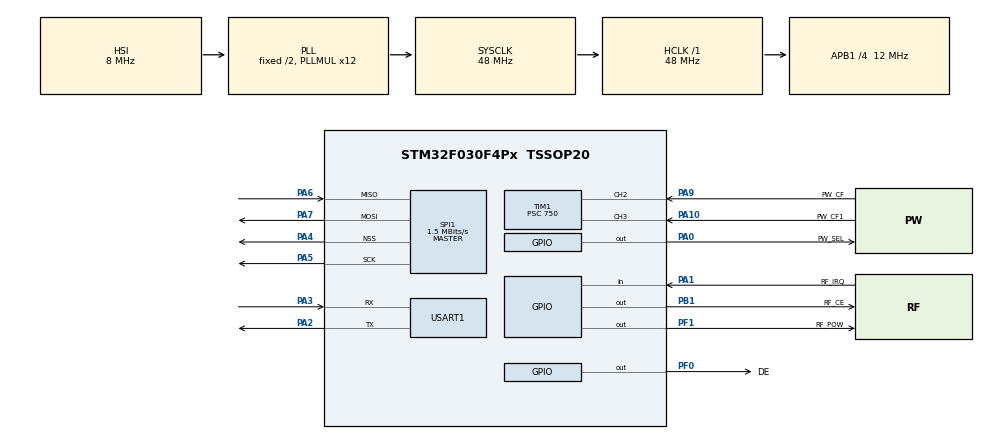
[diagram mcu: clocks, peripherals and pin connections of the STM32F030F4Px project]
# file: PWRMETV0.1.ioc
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Mcu.Family=STM32F0
Mcu.Name=STM32F030F4Px
Mcu.Package=TSSOP20
NVIC.TIM1_BRK_UP_TRG_COM_IRQn=true\:0\:0\:false\:false\:true
NVIC.TIM1_CC_IRQn=true\:0\:0\:false\:false\:true
PA0.GPIO_Label=PW_SEL
PA0.Signal=GPIO_Output
PA1.GPIO_Label=RF_IRQ
PA1.Signal=GPIO_Input
PA10.GPIO_Label=PW_CF1
PA10.Signal=S_TIM1_CH3
PA13.Mode=Serial_Wire
PA13.Signal=SYS_SWDIO
PA14.Mode=Serial_Wire
PA14.Signal=SYS_SWCLK
PA2.Mode=Asynchronous
PA2.Signal=USART1_TX
PA3.Mode=Asynchronous
PA3.Signal=USART1_RX
PA4.Mode=NSS_Signal_Hard_Output
PA4.Signal=SPI1_NSS
PA5.Mode=Full_Duplex_Master
PA5.Signal=SPI1_SCK
PA6.Mode=Full_Duplex_Master
PA6.Signal=SPI1_MISO
PA7.Mode=Full_Duplex_Master
PA7.Signal=SPI1_MOSI
PA9.GPIO_Label=PW_CF
PA9.Signal=S_TIM1_CH2
PB1.GPIO_Label=RF_CE
PB1.GPIO_Speed=GPIO_SPEED_FREQ_HIGH
PB1.Signal=GPIO_Output
PF0-OSC_IN.GPIO_Label=DE
PF0-OSC_IN.GPIO_Speed=GPIO_SPEED_FREQ_HIGH
PF0-OSC_IN.Signal=GPIO_Output
PF1-OSC_OUT.GPIO_Label=RF_POW
PF1-OSC_OUT.GPIO_Speed=GPIO_SPEED_FREQ_HIGH
PF1-OSC_OUT.Signal=GPIO_Output
ProjectManager.HeapSize=0x200
ProjectManager.StackSize=0x400
ProjectManager.TargetToolchain=SW4STM32
RCC.AHBFreq_Value=48000000
RCC.APB1CLKDivider=RCC_HCLK_DIV4
RCC.APB1Freq_Value=12000000
RCC.APB1TimFreq_Value=24000000
RCC.HCLKFreq_Value=48000000
RCC.PLLMUL=RCC_PLL_MUL12
RCC.SYSCLKFreq_VALUE=48000000
RCC.SYSCLKSource=RCC_SYSCLKSOURCE_PLLCLK
RCC.Usart1ClockSelection=RCC_USART1CLKSOURCE_HSI
SH.S_TIM1_CH2.0=TIM1_CH2,Input_Capture2_from_TI2
SH.S_TIM1_CH3.0=TIM1_CH3,Input_Capture3_from_TI3
SPI1.BaudRatePrescaler=SPI_BAUDRATEPRESCALER_8
SPI1.CalculateBaudRate=1.5 MBits/s
SPI1.DataSize=SPI_DATASIZE_8BIT
SPI1.Direction=SPI_DIRECTION_2LINES
SPI1.Mode=SPI_MODE_MASTER
SPI1.VirtualNSS=VM_NSSHARD
SPI1.VirtualType=VM_MASTER
TIM1.AutoReloadPreload=TIM_AUTORELOAD_PRELOAD_ENABLE
TIM1.Channel-Input_Capture2_from_TI2=TIM_CHANNEL_2
TIM1.Channel-Input_Capture3_from_TI3=TIM_CHANNEL_3
TIM1.Period=64000
TIM1.Prescaler=750
USART1.VirtualMode-Asynchronous=VM_ASYNC
board=PWRMETV0.1

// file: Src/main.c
/**
  ******************************************************************************
  * File Name          : main.c
  * Description        : Main program body
  ******************************************************************************
  *
  * COPYRIGHT(c) 2017 STMicroelectronics
  *
  * Redistribution and use in source and binary forms, with or without modification,
  * are permitted provided that the following conditions are met:
  *   1. Redistributions of source code must retain the above copyright notice,
  *      this list of conditions and the following disclaimer.
  *   2. Redistributions in binary form must reproduce the above copyright notice,
  *      this list of conditions and the following disclaimer in the documentation
  *      and/or other materials provided with the distribution.
  *   3. Neither the name of STMicroelectronics nor the names of its contributors
  *      may be used to endorse or promote products derived from this software
  *      without specific prior written permission.
  *
  * THIS SOFTWARE IS PROVIDED BY THE COPYRIGHT HOLDERS AND CONTRIBUTORS "AS IS"
  * AND ANY EXPRESS OR IMPLIED WARRANTIES, INCLUDING, BUT NOT LIMITED TO, THE
  * IMPLIED WARRANTIES OF MERCHANTABILITY AND FITNESS FOR A PARTICULAR PURPOSE ARE
  * DISCLAIMED. IN NO EVENT SHALL THE COPYRIGHT HOLDER OR CONTRIBUTORS BE LIABLE
  * FOR ANY DIRECT, INDIRECT, INCIDENTAL, SPECIAL, EXEMPLARY, OR CONSEQUENTIAL
  * DAMAGES (INCLUDING, BUT NOT LIMITED TO, PROCUREMENT OF SUBSTITUTE GOODS OR
  * SERVICES; LOSS OF USE, DATA, OR PROFITS; OR BUSINESS INTERRUPTION) HOWEVER
  * CAUSED AND ON ANY THEORY OF LIABILITY, WHETHER IN CONTRACT, STRICT LIABILITY,
  * OR TORT (INCLUDING NEGLIGENCE OR OTHERWISE) ARISING IN ANY WAY OUT OF THE USE
  * OF THIS SOFTWARE, EVEN IF ADVISED OF THE POSSIBILITY OF SUCH DAMAGE.
  *
  ******************************************************************************
  */
#include "main.h"
#include "stm32f0xx_hal.h"
#include "spi.h"
#include "tim.h"
#include "usart.h"
#include "gpio.h"

/* USER CODE BEGIN Includes */
#include "nrf24l01.h"
#include "eeprom_emul.h"
/* USER CODE END Includes */

/* USER CODE BEGIN PV */
/* Private variables ---------------------------------------------------------*/
#define BRD_ROLE 				0x10  				//0x10 - Power Meter
#define BRD_ADDRESS				0x01				// Address may save in ee

struct structPackage{			// Size should not exceed 32Bytes
	uint16_t Current;
	uint16_t Voltage;
	uint16_t EffPower;
} txPackage;

// Transmitter pipe address - Same of one of the pipe of receiver
uint8_t pipeOut[] = { 0xE7, 0xE6, 0xE5, 0xE4, 0xE3 };

NRF24L01_Pins_t NRF24L01_Pins;
uint8_t channel = 80;											// Channel(decimal)
uint8_t payload = sizeof(txPackage);
volatile uint16_t _tim1Ovf;
volatile uint32_t CF_Val,CF1_Val;
/* USER CODE END PV */

void SystemClock_Config(void);
void Error_Handler(void);

/* USER CODE BEGIN PFP */
/* Private function prototypes -----------------------------------------------*/
void NRF24_Init(void);
void EEProm_Init(void);
/* USER CODE END PFP */

int main(void)
{

  /* USER CODE BEGIN 1 */
	uint8_t dataPipe[5];
	uint8_t dataIn[32];
  /* USER CODE END 1 */

  /* MCU Configuration----------------------------------------------------------*/

  /* Reset of all peripherals, Initializes the Flash interface and the Systick. */
  HAL_Init();

  /* Configure the system clock */
  SystemClock_Config();

  /* Initialize all configured peripherals */
  MX_GPIO_Init();
  MX_TIM1_Init();
  MX_SPI1_Init();
  MX_USART1_UART_Init();
  EEProm_Init();

  /* USER CODE BEGIN 2 */
  NRF24_Init();

  /* USER CODE END 2 */

  /* Infinite loop */
  /* USER CODE BEGIN WHILE */
  while (1)
  {
	  if (NRF24L01_Available(dataPipe))
	  {
		  NRF24L01_GetData(dataIn);
		  if((dataIn[0] == BRD_ROLE) && dataIn[1]==BRD_ADDRESS)
		  {
			  if(dataIn[3]==0x05)							//Request Data
			  {
				  NRF24L01_Transmit(&txPackage);
			  }
		  }
	  }
	  /* USER CODE END WHILE */

  }

}

/** System Clock Configuration
*/
void SystemClock_Config(void)
{

  RCC_OscInitTypeDef RCC_OscInitStruct;
  RCC_ClkInitTypeDef RCC_ClkInitStruct;
  RCC_PeriphCLKInitTypeDef PeriphClkInit;

    /**Initializes the CPU, AHB and APB busses clocks
    */
  RCC_OscInitStruct.OscillatorType = RCC_OSCILLATORTYPE_HSI;
  RCC_OscInitStruct.HSIState = RCC_HSI_ON;
  RCC_OscInitStruct.HSICalibrationValue = 16;
  RCC_OscInitStruct.PLL.PLLState = RCC_PLL_ON;
  RCC_OscInitStruct.PLL.PLLSource = RCC_PLLSOURCE_HSI;
  RCC_OscInitStruct.PLL.PLLMUL = RCC_PLL_MUL12;
  RCC_OscInitStruct.PLL.PREDIV = RCC_PREDIV_DIV1;
  if (HAL_RCC_OscConfig(&RCC_OscInitStruct) != HAL_OK)
  {
    Error_Handler();
  }

    /**Initializes the CPU, AHB and APB busses clocks
    */
  RCC_ClkInitStruct.ClockType = RCC_CLOCKTYPE_HCLK|RCC_CLOCKTYPE_SYSCLK
                              |RCC_CLOCKTYPE_PCLK1;
  RCC_ClkInitStruct.SYSCLKSource = RCC_SYSCLKSOURCE_PLLCLK;
  RCC_ClkInitStruct.AHBCLKDivider = RCC_SYSCLK_DIV1;
  RCC_ClkInitStruct.APB1CLKDivider = RCC_HCLK_DIV4;

  if (HAL_RCC_ClockConfig(&RCC_ClkInitStruct, FLASH_LATENCY_1) != HAL_OK)
  {
    Error_Handler();
  }

  PeriphClkInit.PeriphClockSelection = RCC_PERIPHCLK_USART1;
  PeriphClkInit.Usart1ClockSelection = RCC_USART1CLKSOURCE_HSI;
  if (HAL_RCCEx_PeriphCLKConfig(&PeriphClkInit) != HAL_OK)
  {
    Error_Handler();
  }

    /**Configure the Systick interrupt time
    */
  HAL_SYSTICK_Config(HAL_RCC_GetHCLKFreq()/1000);

    /**Configure the Systick
    */
  HAL_SYSTICK_CLKSourceConfig(SYSTICK_CLKSOURCE_HCLK);

  /* SysTick_IRQn interrupt configuration */
  HAL_NVIC_SetPriority(SysTick_IRQn, 0, 0);
}

/* USER CODE BEGIN 4 */

void EEProm_Init(void)
{
	FLASH_Unlock();
	uint16_t result = EE_Init();

}
void NRF24_Init(void)
{
	NRF24L01_Pins.CE.GPIOx = RF_CE_GPIO_Port;
	NRF24L01_Pins.CE.GPIO_Pin = RF_CE_Pin;
	NRF24L01_Pins.CSN.GPIOx = GPIOA;
	NRF24L01_Pins.CSN.GPIO_Pin = GPIO_PIN_4;
	/* CSN(SS) high = disable SPI */
	HAL_GPIO_WritePin( GPIOA, GPIO_PIN_4, GPIO_PIN_SET );
	/* CE low = disable TX/RX */
	HAL_GPIO_WritePin( RF_CE_GPIO_Port, RF_CE_Pin, GPIO_PIN_RESET );
	NRF24L01_Init( channel, payload, &hspi1, NRF24L01_Pins );
	NRF24L01_SetRF( NRF24L01_DataRate_250k, NRF24L01_OutputPower_0dBm);
	/* Enable auto ack */
	NRF24L01_SetAutoAck(0xFF, 0);			// 0xFF Enable all or if you want enable just pipe 3, insert 3 																									// Have some troble with ack enable... many lost packages
	/* Enable CRC 2bytes */
	NRF24L01_SetCrcLength( NRF24L01_CRC_Disable );

	//APAGAR
	NRF24L01_TestCarrier();

	/* Open a reading pipe with an address*/
	NRF24L01_OpenReadingPipe(1, pipeOut);
	HAL_Delay(1);

	NRF24L01_StartListening();
	HAL_Delay(1);
}

void HAL_TIM_PeriodElapsedCallback(TIM_HandleTypeDef *htim)
{
    if(htim == &htim1)
    {
       _tim1Ovf++; 					// count roll-overs.
    }
}

void HAL_TIM_IC_CaptureCallback(TIM_HandleTypeDef *htim)
{
    if(htim == &htim1){
        if (htim->Channel == HAL_TIM_ACTIVE_CHANNEL_3)
        {
        	CF_Val = TIM1->CCR3;
        } else
        if (htim->Channel == HAL_TIM_ACTIVE_CHANNEL_4)
        {
        	CF1_Val = TIM1->CCR4;
        }

        //if(__HAL_TIM_GET_FLAG(&htim1,TIM_FLAG_UPDATE))
        //    _currTim1CC.word1++;

    }
}

/* USER CODE END 4 */

void Error_Handler(void)
{
  while(1)
  {
  }
}

/************************ (C) COPYRIGHT STMicroelectronics *****END OF FILE****/
